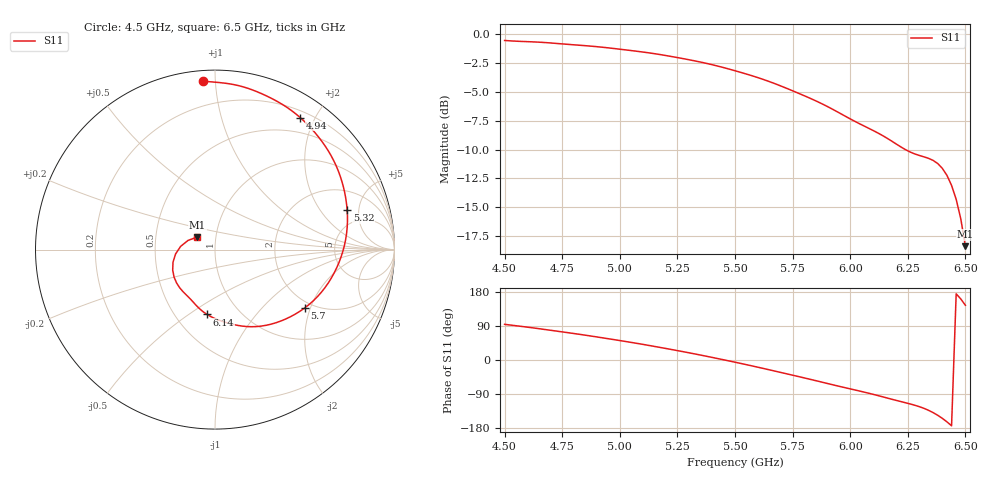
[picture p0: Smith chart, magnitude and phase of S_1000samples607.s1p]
! TOUCHSTONE file generated by CST MICROWAVE STUDIO
! Date and time: Fri Oct 28 18:15:55 2022
! Project name: L.cst
! Parameters = {Di=1.27; Epsilon_r=1.56; InnerDiameter=1.27; Length=2; Lf=10; Lg=60; OuterConductorThickness=0.2921; OuterDiameter=3.6; Wf=3; Wp=41.2; de=1.5; df=6.8; g=0.8; gx=4.46347; gy=4.03074; h=2.34; hf=1.524; px=14.2604; py=13.8648; w=9.7; wx=9.79695; wy=9.83406}
! Header version: 2018
! Port assignment regex: !\s*Touchstone port\s*([0-9]+)\s*=\s*(CST MWS port|CST DS port)\s*([0-9]+|Zmin|Zmax)\s*\(\"(.*)\"\)(\s*mode\s*([0-9]+))?.*
! Touchstone port assignment:
! Touchstone port 1 = CST MWS port 1 ("")
# GHz S DB R 50
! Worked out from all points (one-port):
!   101 points, 4.5 GHz to 6.5 GHz, reference 50 ohm
!   lowest |S11| = -18.4 dB at 6.5 GHz (marker M1), VSWR 1.27, Z = 40.7 + j5.79 ohm
!   |S11| at or under -10 dB: 6.239 GHz to end of sweep
!   S11 on the Smith chart (normalised r, x): 4.5 GHz: 0.06, +0.93; 4.94 GHz: 0.29, +1.80; 5.32 GHz: 3.46, +3.73; 5.7 GHz: 1.81, -1.83; 6.14 GHz: 0.71, -0.59; 6.5 GHz: 0.81, +0.12
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4.5  -0.54 94.1
4.64  -0.68 83.4
4.76  -0.85 73.3
4.86  -1.00 64.6
4.94  -1.16 57.1
5  -1.29 51.3
5.14  -1.65 37.0
5.2  -1.84 30.4
5.26  -2.06 23.6
5.32  -2.29 16.7
5.4  -2.64 6.9
5.5  -3.16 -5.8
5.6  -3.77 -19.1
5.7  -4.49 -33.1
5.76  -4.98 -41.5
5.82  -5.50 -50.1
5.88  -6.05 -58.9
5.94  -6.68 -67.7
6  -7.34 -76.2
6.14  -8.78 -97.0
6.26  -10.21 -116.0
6.34  -10.76 -132.7
6.38  -11.22 -145.9
6.42  -12.24 -163.3
6.44  -13.11 -173.6
6.46  -14.32 174.6
6.48  -16.01 161.1
6.5  -18.38 144.4
